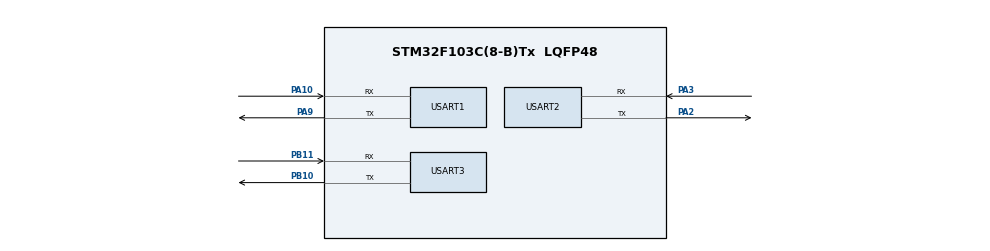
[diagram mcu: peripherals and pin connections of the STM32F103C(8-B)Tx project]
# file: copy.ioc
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Dma.Request0=USART1_RX
Dma.Request1=USART1_TX
Dma.Request2=USART2_RX
Dma.Request3=USART2_TX
Dma.Request4=USART3_RX
Dma.Request5=USART3_TX
Dma.USART1_RX.0.Direction=DMA_PERIPH_TO_MEMORY
Dma.USART1_RX.0.Instance=DMA1_Channel5
Dma.USART1_RX.0.MemDataAlignment=DMA_MDATAALIGN_BYTE
Dma.USART1_RX.0.MemInc=DMA_MINC_ENABLE
Dma.USART1_RX.0.Mode=DMA_CIRCULAR
Dma.USART1_RX.0.PeriphDataAlignment=DMA_PDATAALIGN_BYTE
Dma.USART1_RX.0.PeriphInc=DMA_PINC_DISABLE
Dma.USART1_RX.0.Priority=DMA_PRIORITY_LOW
Dma.USART1_TX.1.Direction=DMA_MEMORY_TO_PERIPH
Dma.USART1_TX.1.Instance=DMA1_Channel4
Dma.USART1_TX.1.MemDataAlignment=DMA_MDATAALIGN_BYTE
Dma.USART1_TX.1.MemInc=DMA_MINC_ENABLE
Dma.USART1_TX.1.Mode=DMA_CIRCULAR
Dma.USART1_TX.1.PeriphDataAlignment=DMA_PDATAALIGN_BYTE
Dma.USART1_TX.1.PeriphInc=DMA_PINC_DISABLE
Dma.USART1_TX.1.Priority=DMA_PRIORITY_LOW
Dma.USART2_RX.2.Direction=DMA_PERIPH_TO_MEMORY
Dma.USART2_RX.2.Instance=DMA1_Channel6
Dma.USART2_RX.2.MemDataAlignment=DMA_MDATAALIGN_BYTE
Dma.USART2_RX.2.MemInc=DMA_MINC_ENABLE
Dma.USART2_RX.2.Mode=DMA_NORMAL
Dma.USART2_RX.2.PeriphDataAlignment=DMA_PDATAALIGN_BYTE
Dma.USART2_RX.2.PeriphInc=DMA_PINC_DISABLE
Dma.USART2_RX.2.Priority=DMA_PRIORITY_LOW
Dma.USART2_TX.3.Direction=DMA_MEMORY_TO_PERIPH
Dma.USART2_TX.3.Instance=DMA1_Channel7
Dma.USART2_TX.3.MemDataAlignment=DMA_MDATAALIGN_BYTE
Dma.USART2_TX.3.MemInc=DMA_MINC_ENABLE
Dma.USART2_TX.3.Mode=DMA_NORMAL
Dma.USART2_TX.3.PeriphDataAlignment=DMA_PDATAALIGN_BYTE
Dma.USART2_TX.3.PeriphInc=DMA_PINC_DISABLE
Dma.USART2_TX.3.Priority=DMA_PRIORITY_LOW
Dma.USART3_RX.4.Direction=DMA_PERIPH_TO_MEMORY
Dma.USART3_RX.4.Instance=DMA1_Channel3
Dma.USART3_RX.4.MemDataAlignment=DMA_MDATAALIGN_BYTE
Dma.USART3_RX.4.MemInc=DMA_MINC_ENABLE
Dma.USART3_RX.4.Mode=DMA_NORMAL
Dma.USART3_RX.4.PeriphDataAlignment=DMA_PDATAALIGN_BYTE
Dma.USART3_RX.4.PeriphInc=DMA_PINC_DISABLE
Dma.USART3_RX.4.Priority=DMA_PRIORITY_LOW
Dma.USART3_TX.5.Direction=DMA_MEMORY_TO_PERIPH
Dma.USART3_TX.5.Instance=DMA1_Channel2
Dma.USART3_TX.5.MemDataAlignment=DMA_MDATAALIGN_BYTE
Dma.USART3_TX.5.MemInc=DMA_MINC_ENABLE
Dma.USART3_TX.5.Mode=DMA_NORMAL
Dma.USART3_TX.5.PeriphDataAlignment=DMA_PDATAALIGN_BYTE
Dma.USART3_TX.5.PeriphInc=DMA_PINC_DISABLE
Dma.USART3_TX.5.Priority=DMA_PRIORITY_LOW
Mcu.Family=STM32F1
Mcu.Name=STM32F103C(8-B)Tx
Mcu.Package=LQFP48
NVIC.DMA1_Channel4_IRQn=true\:0\:0\:false\:false\:true\:false\:true\:true
NVIC.DMA1_Channel5_IRQn=true\:0\:0\:false\:false\:true\:false\:true\:true
NVIC.DMA1_Channel6_IRQn=true\:0\:0\:false\:false\:true\:false\:true\:true
NVIC.DMA1_Channel7_IRQn=true\:0\:0\:false\:false\:true\:false\:true\:true
NVIC.DMA1_Channel2_IRQn=true\:0\:0\:false\:false\:true\:false\:true\:true
NVIC.DMA1_Channel3_IRQn=true\:0\:0\:false\:false\:true\:false\:true\:true
NVIC.PriorityGroup=NVIC_PRIORITYGROUP_4
NVIC.USART1_IRQn=true\:0\:0\:false\:false\:true\:false\:true\:true
NVIC.USART2_IRQn=true\:0\:0\:false\:false\:true\:false\:true\:true
NVIC.USART3_IRQn=true\:0\:0\:false\:false\:true\:false\:true\:true
PA10.Mode=Asynchronous
PA10.Signal=USART1_RX
PA13.Mode=Serial_Wire
PA13.Signal=SYS_JTMS-SWDIO
PA14.Mode=Serial_Wire
PA14.Signal=SYS_JTCK-SWCLK
PA2.Mode=Asynchronous
PA2.Signal=USART2_TX
PA3.Mode=Asynchronous
PA3.Signal=USART2_RX
PA9.Mode=Asynchronous
PA9.Signal=USART1_TX
PB10.Mode=Asynchronous
PB10.Signal=USART3_TX
PB11.Mode=Asynchronous
PB11.Signal=USART3_RX
PD0-OSC_IN.Mode=HSE-External-Oscillator
PD0-OSC_IN.Signal=RCC_OSC_IN
PD1-OSC_OUT.Mode=HSE-External-Oscillator
PD1-OSC_OUT.Signal=RCC_OSC_OUT
ProjectManager.HeapSize=0x200
ProjectManager.StackSize=0x400
ProjectManager.TargetToolchain=MDK-ARM V5.32
RCC.AHBFreq_Value=8000000
RCC.APB1Freq_Value=8000000
RCC.APB1TimFreq_Value=8000000
RCC.APB2Freq_Value=8000000
RCC.APB2TimFreq_Value=8000000
RCC.HCLKFreq_Value=8000000
RCC.PLLMUL=RCC_PLL_MUL9
RCC.PLLSourceVirtual=RCC_PLLSOURCE_HSE
RCC.SYSCLKFreq_VALUE=8000000
RCC.USBFreq_Value=72000000
USART1.VirtualMode=VM_ASYNC
USART2.VirtualMode=VM_ASYNC
USART3.VirtualMode=VM_ASYNC
board=custom

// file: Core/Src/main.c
/* USER CODE BEGIN Header */
/**
  ******************************************************************************
  * @file           : main.c
  * @brief          : Main program body
  ******************************************************************************
  * @attention
  *
  * Copyright (c) 2025 STMicroelectronics.
  * All rights reserved.
  *
  * This software is licensed under terms that can be found in the LICENSE file
  * in the root directory of this software component.
  * If no LICENSE file comes with this software, it is provided AS-IS.
  *
  ******************************************************************************
  */
/* USER CODE END Header */
#include "main.h"
#include "string.h"
#include "stdio.h"

/* USER CODE BEGIN Includes */

// DMA宏定义
#ifndef DMA_IT_HT
#define DMA_IT_HT                         ((uint32_t)0x0004)
#endif

/* USER CODE END Includes */

/* USER CODE BEGIN PD */
#define CMD_BUFFER_SIZE 20
/* USER CODE END PD */

UART_HandleTypeDef huart1;
UART_HandleTypeDef huart2;
UART_HandleTypeDef huart3;
DMA_HandleTypeDef hdma_usart1_rx;
DMA_HandleTypeDef hdma_usart1_tx;
DMA_HandleTypeDef hdma_usart2_rx;
DMA_HandleTypeDef hdma_usart2_tx;
DMA_HandleTypeDef hdma_usart3_rx;
DMA_HandleTypeDef hdma_usart3_tx;

/* USER CODE BEGIN PV */
// 接收缓冲区
uint8_t UART1_RxBuffer[UART_RX_BUFFER_SIZE];
uint8_t UART1_TxBuffer[UART_RX_BUFFER_SIZE];
uint16_t UART1_RxCount = 0;
uint8_t UART2_RxChar;
uint8_t UART3_RxChar;
uint8_t DataReady = 0;
uint8_t CmdMode = 0xA2;  // 默认模式为8bit AD数据
// 处理后的数据缓冲区
uint8_t ProcessedDataBuffer[PROCESSED_DATA_SIZE];
/* USER CODE END PV */

void SystemClock_Config(void);
static void MX_GPIO_Init(void);
static void MX_DMA_Init(void);
static void MX_USART1_UART_Init(void);
static void MX_USART2_UART_Init(void);
static void MX_USART3_UART_Init(void);
/* USER CODE BEGIN PFP */
void ProcessCommand(uint8_t cmd);
void ProcessReceivedData(uint8_t* inputData, uint16_t inputSize);
/* USER CODE END PFP */

/* USER CODE BEGIN 0 */

/**
 * @brief Process received data by averaging every 5 values
 * @param inputData Pointer to input data buffer
 * @param inputSize Size of input data
 * @retval None
 */

/**
 * @brief Process received command
 * @param cmd Command byte
 * @retval None
 */
void ProcessCommand(uint8_t cmd)
{
  switch(cmd)
  {
    case 0xA1:
      CmdMode = 0xA1;
      // 发送0xA1命令到H750
      HAL_UART_Transmit(&huart1, (uint8_t*)"\xA1", 1, 100);
      // 确保DMA接收已启动
      HAL_UARTEx_ReceiveToIdle_DMA(&huart1, UART1_RxBuffer, UART_RX_BUFFER_SIZE);
      __HAL_DMA_DISABLE_IT(&hdma_usart1_rx, 0x0004);
      break;

    case 0xA2:
      CmdMode = 0xA2;
      // 发送0xA2命令到H750
      HAL_UART_Transmit(&huart1, (uint8_t*)"\xA2", 1, 100);
      // 确保DMA接收已启动
      HAL_UARTEx_ReceiveToIdle_DMA(&huart1, UART1_RxBuffer, UART_RX_BUFFER_SIZE);
      __HAL_DMA_DISABLE_IT(&hdma_usart1_rx, 0x0004);
      break;

    case 0xA4:
      CmdMode = 0xA4;
      // 发送0xA4命令到H750
      HAL_UART_Transmit(&huart1, (uint8_t*)"\xA4", 1, 100);
      // 确保DMA接收已启动
      HAL_UARTEx_ReceiveToIdle_DMA(&huart1, UART1_RxBuffer, UART_RX_BUFFER_SIZE);
      __HAL_DMA_DISABLE_IT(&hdma_usart1_rx, 0x0004);
      break;

    // 曝光时间设置命令 0xB1-0xBF
    case 0xB1:
      HAL_UART_Transmit(&huart1, (uint8_t*)"\xB1", 1, 100);
      // 确保DMA接收已启动
      HAL_UARTEx_ReceiveToIdle_DMA(&huart1, UART1_RxBuffer, UART_RX_BUFFER_SIZE);
      __HAL_DMA_DISABLE_IT(&hdma_usart1_rx, 0x0004);
      break;

    case 0xB2:
      HAL_UART_Transmit(&huart1, (uint8_t*)"\xB2", 1, 100);
      // 确保DMA接收已启动
      HAL_UARTEx_ReceiveToIdle_DMA(&huart1, UART1_RxBuffer, UART_RX_BUFFER_SIZE);
      __HAL_DMA_DISABLE_IT(&hdma_usart1_rx, 0x0004);
      break;

    case 0xB3:
      HAL_UART_Transmit(&huart1, (uint8_t*)"\xB3", 1, 100);
      // 确保DMA接收已启动
      HAL_UARTEx_ReceiveToIdle_DMA(&huart1, UART1_RxBuffer, UART_RX_BUFFER_SIZE);
      __HAL_DMA_DISABLE_IT(&hdma_usart1_rx, 0x0004);
      break;

    case 0xB4:
      HAL_UART_Transmit(&huart1, (uint8_t*)"\xB4", 1, 100);
      // 确保DMA接收已启动
      HAL_UARTEx_ReceiveToIdle_DMA(&huart1, UART1_RxBuffer, UART_RX_BUFFER_SIZE);
      __HAL_DMA_DISABLE_IT(&hdma_usart1_rx, 0x0004);
      break;

    case 0xB5:
      HAL_UART_Transmit(&huart1, (uint8_t*)"\xB5", 1, 100);
      // 确保DMA接收已启动
      HAL_UARTEx_ReceiveToIdle_DMA(&huart1, UART1_RxBuffer, UART_RX_BUFFER_SIZE);
      __HAL_DMA_DISABLE_IT(&hdma_usart1_rx, 0x0004);
      break;

    case 0xB6:
      HAL_UART_Transmit(&huart1, (uint8_t*)"\xB6", 1, 100);
      // 确保DMA接收已启动
      HAL_UARTEx_ReceiveToIdle_DMA(&huart1, UART1_RxBuffer, UART_RX_BUFFER_SIZE);
      __HAL_DMA_DISABLE_IT(&hdma_usart1_rx, 0x0004);
      break;

    case 0xB7:
      HAL_UART_Transmit(&huart1, (uint8_t*)"\xB7", 1, 100);
      // 确保DMA接收已启动
      HAL_UARTEx_ReceiveToIdle_DMA(&huart1, UART1_RxBuffer, UART_RX_BUFFER_SIZE);
      __HAL_DMA_DISABLE_IT(&hdma_usart1_rx, 0x0004);
      break;

    case 0xB8:
      HAL_UART_Transmit(&huart1, (uint8_t*)"\xB8", 1, 100);
      // 确保DMA接收已启动
      HAL_UARTEx_ReceiveToIdle_DMA(&huart1, UART1_RxBuffer, UART_RX_BUFFER_SIZE);
      __HAL_DMA_DISABLE_IT(&hdma_usart1_rx, 0x0004);
      break;

    case 0xB9:
      HAL_UART_Transmit(&huart1, (uint8_t*)"\xB9", 1, 100);
      // 确保DMA接收已启动
      HAL_UARTEx_ReceiveToIdle_DMA(&huart1, UART1_RxBuffer, UART_RX_BUFFER_SIZE);
      __HAL_DMA_DISABLE_IT(&hdma_usart1_rx, 0x0004);
      break;

    case 0xBA:
      HAL_UART_Transmit(&huart1, (uint8_t*)"\xBA", 1, 100);
      // 确保DMA接收已启动
      HAL_UARTEx_ReceiveToIdle_DMA(&huart1, UART1_RxBuffer, UART_RX_BUFFER_SIZE);
      __HAL_DMA_DISABLE_IT(&hdma_usart1_rx, 0x0004);
      break;

    case 0xBB:
      HAL_UART_Transmit(&huart1, (uint8_t*)"\xBB", 1, 100);
      // 确保DMA接收已启动
      HAL_UARTEx_ReceiveToIdle_DMA(&huart1, UART1_RxBuffer, UART_RX_BUFFER_SIZE);
      __HAL_DMA_DISABLE_IT(&hdma_usart1_rx, 0x0004);
      break;

    case 0xBC:
      HAL_UART_Transmit(&huart1, (uint8_t*)"\xBC", 1, 100);
      // 确保DMA接收已启动
      HAL_UARTEx_ReceiveToIdle_DMA(&huart1, UART1_RxBuffer, UART_RX_BUFFER_SIZE);
      __HAL_DMA_DISABLE_IT(&hdma_usart1_rx, 0x0004);
      break;

    case 0xBD:
      HAL_UART_Transmit(&huart1, (uint8_t*)"\xBD", 1, 100);
      // 确保DMA接收已启动
      HAL_UARTEx_ReceiveToIdle_DMA(&huart1, UART1_RxBuffer, UART_RX_BUFFER_SIZE);
      __HAL_DMA_DISABLE_IT(&hdma_usart1_rx, 0x0004);
      break;

    case 0xBE:
      HAL_UART_Transmit(&huart1, (uint8_t*)"\xBE", 1, 100);
      // 确保DMA接收已启动
      HAL_UARTEx_ReceiveToIdle_DMA(&huart1, UART1_RxBuffer, UART_RX_BUFFER_SIZE);
      __HAL_DMA_DISABLE_IT(&hdma_usart1_rx, 0x0004);
      break;

    case 0xBF:
      HAL_UART_Transmit(&huart1, (uint8_t*)"\xBF", 1, 100);
      // 确保DMA接收已启动
      HAL_UARTEx_ReceiveToIdle_DMA(&huart1, UART1_RxBuffer, UART_RX_BUFFER_SIZE);
      __HAL_DMA_DISABLE_IT(&hdma_usart1_rx, 0x0004);
      break;

    default:
      break;
  }
}

/**
 * @brief  Reception Event Callback (Rx event notification called after use of advanced reception service).
 * @param  huart UART handle
 * @param  Size  Number of data available in application reception buffer (indicates a reception complete to Size data)
 * @retval None
 */
void HAL_UARTEx_RxEventCallback(UART_HandleTypeDef *huart, uint16_t Size)
{
  if (huart->Instance == huart1.Instance)
  {
    // 记录接收到的数据大小
    UART1_RxCount = Size;

    // 禁用全局中断，确保数据处理不被打�?
    __disable_irq();

    // 立即停止DMA接收，防止数据被覆盖
    HAL_UART_DMAStop(&huart1);

    // 使用memcpy快�?�复制数据到发�?�缓冲区
    memcpy(UART1_TxBuffer, UART1_RxBuffer, Size);

    // 重新启用中断
    __enable_irq();

    // 发送数据到UART2和UART3 (同时发送到两个端口)
    uint16_t total_sent_uart2 = 0;
    uint16_t total_sent_uart3 = 0;

    // 发送到UART2
    while(total_sent_uart2 < Size)
    {
      // 计算剩余字节数
      uint16_t remaining = Size - total_sent_uart2;

      // 发送剩余数据，使用较短的超时时间但会重试
      HAL_StatusTypeDef result = HAL_UART_Transmit(&huart2, &UART1_TxBuffer[total_sent_uart2], remaining, 2000);

      if(result == HAL_OK)
      {
        // 全部发送成功
        total_sent_uart2 = Size;
        break;
      }
      else if(result == HAL_TIMEOUT)
      {
        // 超时，可能部分发送成功，尝试逐字节发送剩余数据
        for(uint16_t i = total_sent_uart2; i < Size; i++)
        {
          if(HAL_UART_Transmit(&huart2, &UART1_TxBuffer[i], 1, 100) == HAL_OK)
          {
            total_sent_uart2++;
          }
          else
          {
            break;  // 如果单字节也失败，退出
          }
        }
        break;
      }
      else
      {
        // 其他错误，短暂延时后重试
        HAL_Delay(10);
      }
    }

    // 发送到UART3 (与UART2相同的处理)
    while(total_sent_uart3 < Size)
    {
      // 计算剩余字节数
      uint16_t remaining = Size - total_sent_uart3;

      // 发送剩余数据，使用较短的超时时间但会重试
      HAL_StatusTypeDef result = HAL_UART_Transmit(&huart3, &UART1_TxBuffer[total_sent_uart3], remaining, 2000);

      if(result == HAL_OK)
      {
        // 全部发送成功
        total_sent_uart3 = Size;
        break;
      }
      else if(result == HAL_TIMEOUT)
      {
        // 超时，可能部分发送成功，尝试逐字节发送剩余数据
        for(uint16_t i = total_sent_uart3; i < Size; i++)
        {
          if(HAL_UART_Transmit(&huart3, &UART1_TxBuffer[i], 1, 100) == HAL_OK)
          {
            total_sent_uart3++;
          }
          else
          {
            break;  // 如果单字节也失败，退出
          }
        }
        break;
      }
      else
      {
        // 其他错误，短暂延时后重试
        HAL_Delay(10);
      }
    }

    // 发�?�完成后重启UART1接收
    HAL_UARTEx_ReceiveToIdle_DMA(&huart1, UART1_RxBuffer, UART_RX_BUFFER_SIZE);
    __HAL_DMA_DISABLE_IT(&hdma_usart1_rx, 0x0004);
  }
}
/**
 * @brief Process received data
 * @param None
 * @retval None
 */

/**
 * @brief UART RX complete callback
 * @param huart UART handle
 * @retval None
 */
void HAL_UART_RxCpltCallback(UART_HandleTypeDef *huart)
{
  if (huart->Instance == huart2.Instance)
  {
    // Process received command from UART2
    ProcessCommand(UART2_RxChar);

    // Restart reception
    HAL_UART_Receive_IT(&huart2, &UART2_RxChar, 1);
  }
  else if (huart->Instance == huart3.Instance)
  {
    // Process received command from UART3 (与UART2功能相同)
    ProcessCommand(UART3_RxChar);

    // Restart reception
    HAL_UART_Receive_IT(&huart3, &UART3_RxChar, 1);
  }
}

/* USER CODE END 0 */

int main(void)
{

  /* MCU Configuration--------------------------------------------------------*/

  /* Reset of all peripherals, Initializes the Flash interface and the Systick. */
  HAL_Init();

  /* Configure the system clock */
  SystemClock_Config();

  /* Initialize all configured peripherals */
  MX_GPIO_Init();
  MX_DMA_Init();
  MX_USART1_UART_Init();
  MX_USART2_UART_Init();
  MX_USART3_UART_Init();
  /* USER CODE BEGIN 2 */

  // 启动时自动发送0xA2命令到H750
  HAL_UART_Transmit(&huart1, (uint8_t*)"\xA2", 1, 100);

  // 重新启动DMA接收
  HAL_UARTEx_ReceiveToIdle_DMA(&huart1, UART1_RxBuffer, UART_RX_BUFFER_SIZE);
  __HAL_DMA_DISABLE_IT(&hdma_usart1_rx, 0x0004);

  // Start UART2 single character reception
  HAL_UART_Receive_IT(&huart2, &UART2_RxChar, 1);

  // Start UART3 single character reception (与UART2相同的配置)
  HAL_UART_Receive_IT(&huart3, &UART3_RxChar, 1);

  /* USER CODE END 2 */

  /* Infinite loop */
  while (1)
  {

    /* USER CODE BEGIN 3 */
    // Check if new data needs to be processed

    // Add a small delay to avoid high CPU usage
    HAL_Delay(1);
  }
  /* USER CODE END 3 */
}

void SystemClock_Config(void)
{
  RCC_OscInitTypeDef RCC_OscInitStruct = {0};
  RCC_ClkInitTypeDef RCC_ClkInitStruct = {0};

  /** Initializes the RCC Oscillators according to the specified parameters
  * in the RCC_OscInitTypeDef structure.
  */
  RCC_OscInitStruct.OscillatorType = RCC_OSCILLATORTYPE_HSE;
  RCC_OscInitStruct.HSEState = RCC_HSE_ON;
  RCC_OscInitStruct.HSEPredivValue = RCC_HSE_PREDIV_DIV1;
  RCC_OscInitStruct.HSIState = RCC_HSI_ON;
  RCC_OscInitStruct.PLL.PLLState = RCC_PLL_ON;
  RCC_OscInitStruct.PLL.PLLSource = RCC_PLLSOURCE_HSE;
  RCC_OscInitStruct.PLL.PLLMUL = RCC_PLL_MUL9;
  if (HAL_RCC_OscConfig(&RCC_OscInitStruct) != HAL_OK)
  {
    Error_Handler();
  }

  /** Initializes the CPU, AHB and APB buses clocks
  */
  RCC_ClkInitStruct.ClockType = RCC_CLOCKTYPE_HCLK|RCC_CLOCKTYPE_SYSCLK
                              |RCC_CLOCKTYPE_PCLK1|RCC_CLOCKTYPE_PCLK2;
  RCC_ClkInitStruct.SYSCLKSource = RCC_SYSCLKSOURCE_PLLCLK;
  RCC_ClkInitStruct.AHBCLKDivider = RCC_SYSCLK_DIV1;
  RCC_ClkInitStruct.APB1CLKDivider = RCC_HCLK_DIV2;
  RCC_ClkInitStruct.APB2CLKDivider = RCC_HCLK_DIV1;

  if (HAL_RCC_ClockConfig(&RCC_ClkInitStruct, FLASH_LATENCY_2) != HAL_OK)
  {
    Error_Handler();
  }
}

static void MX_USART1_UART_Init(void)
{

  huart1.Instance = USART1;
  huart1.Init.BaudRate = 921600;
  huart1.Init.WordLength = UART_WORDLENGTH_8B;
  huart1.Init.StopBits = UART_STOPBITS_1;
  huart1.Init.Parity = UART_PARITY_NONE;
  huart1.Init.Mode = UART_MODE_TX_RX;
  huart1.Init.HwFlowCtl = UART_HWCONTROL_NONE;
  huart1.Init.OverSampling = UART_OVERSAMPLING_16;
  if (HAL_UART_Init(&huart1) != HAL_OK)
  {
    Error_Handler();
  }

}

static void MX_USART2_UART_Init(void)
{

  huart2.Instance = USART2;
  huart2.Init.BaudRate = 256000;
  huart2.Init.WordLength = UART_WORDLENGTH_8B;
  huart2.Init.StopBits = UART_STOPBITS_1;
  huart2.Init.Parity = UART_PARITY_NONE;
  huart2.Init.Mode = UART_MODE_TX_RX;
  huart2.Init.HwFlowCtl = UART_HWCONTROL_NONE;
  huart2.Init.OverSampling = UART_OVERSAMPLING_16;
  if (HAL_UART_Init(&huart2) != HAL_OK)
  {
    Error_Handler();
  }

}

static void MX_DMA_Init(void)
{

  /* DMA controller clock enable */
  __HAL_RCC_DMA1_CLK_ENABLE();

  /* DMA interrupt init */
  /* DMA1_Channel2_IRQn interrupt configuration */
  HAL_NVIC_SetPriority(DMA1_Channel2_IRQn, 0, 0);
  HAL_NVIC_EnableIRQ(DMA1_Channel2_IRQn);
  /* DMA1_Channel3_IRQn interrupt configuration */
  HAL_NVIC_SetPriority(DMA1_Channel3_IRQn, 0, 0);
  HAL_NVIC_EnableIRQ(DMA1_Channel3_IRQn);
  /* DMA1_Channel4_IRQn interrupt configuration */
  HAL_NVIC_SetPriority(DMA1_Channel4_IRQn, 0, 0);
  HAL_NVIC_EnableIRQ(DMA1_Channel4_IRQn);
  /* DMA1_Channel5_IRQn interrupt configuration */
  HAL_NVIC_SetPriority(DMA1_Channel5_IRQn, 0, 0);
  HAL_NVIC_EnableIRQ(DMA1_Channel5_IRQn);
  /* DMA1_Channel6_IRQn interrupt configuration */
  HAL_NVIC_SetPriority(DMA1_Channel6_IRQn, 0, 0);
  HAL_NVIC_EnableIRQ(DMA1_Channel6_IRQn);
  /* DMA1_Channel7_IRQn interrupt configuration */
  HAL_NVIC_SetPriority(DMA1_Channel7_IRQn, 0, 0);
  HAL_NVIC_EnableIRQ(DMA1_Channel7_IRQn);

}

static void MX_USART3_UART_Init(void)
{

  huart3.Instance = USART3;
  huart3.Init.BaudRate = 256000;
  huart3.Init.WordLength = UART_WORDLENGTH_8B;
  huart3.Init.StopBits = UART_STOPBITS_1;
  huart3.Init.Parity = UART_PARITY_NONE;
  huart3.Init.Mode = UART_MODE_TX_RX;
  huart3.Init.HwFlowCtl = UART_HWCONTROL_NONE;
  huart3.Init.OverSampling = UART_OVERSAMPLING_16;
  if (HAL_UART_Init(&huart3) != HAL_OK)
  {
    Error_Handler();
  }

}

static void MX_GPIO_Init(void)
{

  /* GPIO Ports Clock Enable */
  __HAL_RCC_GPIOD_CLK_ENABLE();
  __HAL_RCC_GPIOA_CLK_ENABLE();
  __HAL_RCC_GPIOB_CLK_ENABLE();

}

void Error_Handler(void)
{
  __disable_irq();
  while (1)
  {
  }
}
